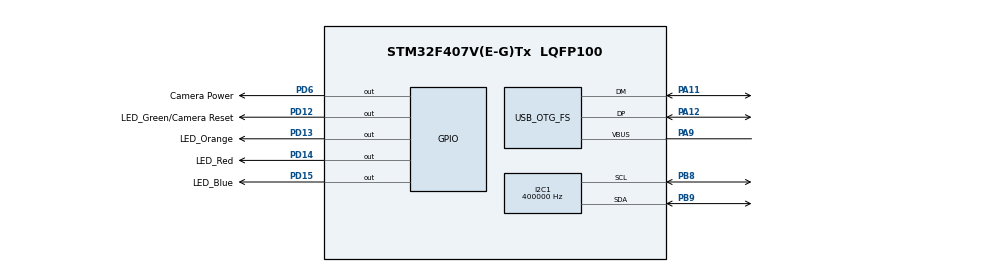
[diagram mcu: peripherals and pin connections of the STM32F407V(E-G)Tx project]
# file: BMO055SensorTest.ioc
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Dma.I2C1_RX.1.Channel=DMA_CHANNEL_1
Dma.I2C1_RX.1.Direction=DMA_PERIPH_TO_MEMORY
Dma.I2C1_RX.1.FIFOMode=DMA_FIFOMODE_DISABLE
Dma.I2C1_RX.1.Instance=DMA1_Stream0
Dma.I2C1_RX.1.MemDataAlignment=DMA_MDATAALIGN_BYTE
Dma.I2C1_RX.1.MemInc=DMA_MINC_ENABLE
Dma.I2C1_RX.1.Mode=DMA_NORMAL
Dma.I2C1_RX.1.PeriphDataAlignment=DMA_PDATAALIGN_BYTE
Dma.I2C1_RX.1.PeriphInc=DMA_PINC_DISABLE
Dma.I2C1_RX.1.Priority=DMA_PRIORITY_HIGH
Dma.I2C1_TX.0.Channel=DMA_CHANNEL_1
Dma.I2C1_TX.0.Direction=DMA_MEMORY_TO_PERIPH
Dma.I2C1_TX.0.FIFOMode=DMA_FIFOMODE_DISABLE
Dma.I2C1_TX.0.Instance=DMA1_Stream6
Dma.I2C1_TX.0.MemDataAlignment=DMA_MDATAALIGN_BYTE
Dma.I2C1_TX.0.MemInc=DMA_MINC_DISABLE
Dma.I2C1_TX.0.Mode=DMA_NORMAL
Dma.I2C1_TX.0.PeriphDataAlignment=DMA_PDATAALIGN_BYTE
Dma.I2C1_TX.0.PeriphInc=DMA_PINC_DISABLE
Dma.I2C1_TX.0.Priority=DMA_PRIORITY_HIGH
Dma.Request0=I2C1_TX
Dma.Request1=I2C1_RX
I2C1.ClockSpeed=400000
Mcu.Family=STM32F4
Mcu.Name=STM32F407V(E-G)Tx
Mcu.Package=LQFP100
NVIC.DMA1_Stream0_IRQn=true\:2\:0
NVIC.DMA1_Stream6_IRQn=true\:2\:0
NVIC.DMA2_Stream1_IRQn=true\:2\:0
NVIC.I2C1_ER_IRQn=true\:3\:0
NVIC.I2C1_EV_IRQn=true\:3\:0
NVIC.OTG_FS_IRQn=true\:0\:0
NVIC.PriorityGroup=NVIC_PRIORITYGROUP_2
NVIC.TIM7_IRQn=true\:0\:0
PA11.GPIO_Mode=GPIO_MODE_AF_PP
PA11.GPIO_PuPd=GPIO_NOPULL
PA11.GPIO_Speed=GPIO_SPEED_HIGH
PA11.Mode=Device_Only
PA11.Signal=USB_OTG_FS_DM
PA12.GPIO_Mode=GPIO_MODE_AF_PP
PA12.GPIO_PuPd=GPIO_NOPULL
PA12.GPIO_Speed=GPIO_SPEED_HIGH
PA12.Mode=Device_Only
PA12.Signal=USB_OTG_FS_DP
PA9.Mode=Activate_VBUS
PA9.Signal=USB_OTG_FS_VBUS
PB8.GPIO_Mode=GPIO_MODE_AF_OD
PB8.GPIO_PuPd=GPIO_PULLUP
PB8.GPIO_Speed=GPIO_SPEED_HIGH
PB8.Mode=I2C
PB8.Signal=I2C1_SCL
PB9.GPIO_Mode=GPIO_MODE_AF_OD
PB9.GPIO_PuPd=GPIO_PULLUP
PB9.GPIO_Speed=GPIO_SPEED_HIGH
PB9.Mode=I2C
PB9.Signal=I2C1_SDA
PD12.GPIO_Label=LED_Green/Camera Reset
PD12.GPIO_ModeDefaultOutputPP=GPIO_MODE_OUTPUT_PP
PD12.GPIO_PuPd=GPIO_PULLDOWN
PD12.GPIO_Speed=GPIO_SPEED_FAST
PD12.Signal=GPIO_Output
PD13.GPIO_Label=LED_Orange
PD13.GPIO_ModeDefaultOutputPP=GPIO_MODE_OUTPUT_PP
PD13.GPIO_PuPd=GPIO_PULLDOWN
PD13.GPIO_Speed=GPIO_SPEED_FAST
PD13.Signal=GPIO_Output
PD14.GPIO_Label=LED_Red
PD14.GPIO_ModeDefaultOutputPP=GPIO_MODE_OUTPUT_PP
PD14.GPIO_PuPd=GPIO_PULLDOWN
PD14.GPIO_Speed=GPIO_SPEED_FAST
PD14.Signal=GPIO_Output
PD15.GPIO_Label=LED_Blue
PD15.GPIO_ModeDefaultOutputPP=GPIO_MODE_OUTPUT_PP
PD15.GPIO_PuPd=GPIO_PULLDOWN
PD15.GPIO_Speed=GPIO_SPEED_FAST
PD15.Signal=GPIO_Output
PD6.GPIO_Label=Camera Power
PD6.GPIO_ModeDefaultOutputPP=GPIO_MODE_OUTPUT_PP
PD6.GPIO_PuPd=GPIO_PULLDOWN
PD6.GPIO_Speed=GPIO_SPEED_FAST
PD6.Signal=GPIO_Output
ProjectManager.TargetToolchain=MDK-ARM 4.73
RCC.APB1CLKDivider=RCC_HCLK_DIV4
RCC.APB2CLKDivider=RCC_HCLK_DIV2
RCC.HSE_VALUE=25000000
RCC.HSI_VALUE=16000000
RCC.LSE_VALUE=32768
RCC.PLLN=336
RCC.PLLQ=7
RCC.SYSCLKSource=RCC_SYSCLKSOURCE_PLLCLK
TIM7.Period=59999
TIM7.Prescaler=13
USB_DEVICE.USBD_HandleTypeDef=hUsbDeviceFS
USB_DEVICE.VirtualMode=Cdc
USB_DEVICE.VirtualModeFS=Cdc_FS
USB_OTG_FS.VirtualMode-Device_Only=Device_Only
VP_CRC_VS_CRC.Mode=CRC_Activate
VP_TIM7_VS_ClockSourceINT.Mode=Enable_Timer
VP_USB_DEVICE_VS_USB_DEVICE_CDC_FS.Mode=CDC_FS

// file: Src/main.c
/**
  ******************************************************************************
  * File Name          : main.c
  * Date               : 06/06/2015 19:36:42
  * Description        : Main program body
  ******************************************************************************
  *
  * COPYRIGHT(c) 2015 STMicroelectronics
  *
  * Redistribution and use in source and binary forms, with or without modification,
  * are permitted provided that the following conditions are met:
  *   1. Redistributions of source code must retain the above copyright notice,
  *      this list of conditions and the following disclaimer.
  *   2. Redistributions in binary form must reproduce the above copyright notice,
  *      this list of conditions and the following disclaimer in the documentation
  *      and/or other materials provided with the distribution.
  *   3. Neither the name of STMicroelectronics nor the names of its contributors
  *      may be used to endorse or promote products derived from this software
  *      without specific prior written permission.
  *
  * THIS SOFTWARE IS PROVIDED BY THE COPYRIGHT HOLDERS AND CONTRIBUTORS "AS IS"
  * AND ANY EXPRESS OR IMPLIED WARRANTIES, INCLUDING, BUT NOT LIMITED TO, THE
  * IMPLIED WARRANTIES OF MERCHANTABILITY AND FITNESS FOR A PARTICULAR PURPOSE ARE
  * DISCLAIMED. IN NO EVENT SHALL THE COPYRIGHT HOLDER OR CONTRIBUTORS BE LIABLE
  * FOR ANY DIRECT, INDIRECT, INCIDENTAL, SPECIAL, EXEMPLARY, OR CONSEQUENTIAL
  * DAMAGES (INCLUDING, BUT NOT LIMITED TO, PROCUREMENT OF SUBSTITUTE GOODS OR
  * SERVICES; LOSS OF USE, DATA, OR PROFITS; OR BUSINESS INTERRUPTION) HOWEVER
  * CAUSED AND ON ANY THEORY OF LIABILITY, WHETHER IN CONTRACT, STRICT LIABILITY,
  * OR TORT (INCLUDING NEGLIGENCE OR OTHERWISE) ARISING IN ANY WAY OUT OF THE USE
  * OF THIS SOFTWARE, EVEN IF ADVISED OF THE POSSIBILITY OF SUCH DAMAGE.
  *
  ******************************************************************************
  */

#include "stm32f4xx_hal.h"
#include "crc.h"
#include "dma.h"
#include "i2c.h"
#include "tim.h"
#include "usb_device.h"
#include "gpio.h"

/* USER CODE BEGIN 0 */
//------------------------------ Includes -------------------------------------
// Для работы с устройством USB
#include "usbd_cdc_if.h"
// Определены адреса регистров сенсора
// D:\MyPROG\LSD_SLAM\STM\BNO055_driver
#include "bno055.h"
// Определены адреса регистров видео камеры
// D:\MyPROG\STM32\STM32Cube_FW_F4_V1.6.0\Drivers\BSP\Components\ov2640
//#include "ov2640.h"

//------------------------------ Defines -------------------------------------
// Управление питанием видеокамеры
#define  CAMERA_PWR_EN_PIN		GPIO_PIN_6
#define  CAMERA_PWR_EN_PORT		GPIOD
// Зеленый светодиод и сброс камеры
#define  CAMERA_RST_PIN			  GPIO_PIN_12
#define  CAMERA_RST_PORT		  GPIOD
// Оранжевый сетодиод
#define  ORANG_LED_PIN				GPIO_PIN_13
#define  ORANG_LED_PORT				GPIOD
// Красный сетодиод
#define  RED_LED_PIN					GPIO_PIN_14
#define  RED_LED_PORT		  		GPIOD
// Синий сетодиод
#define  BLUE_LED_PIN					GPIO_PIN_14
#define  BLUE_LED_PORT				GPIOD

// Адресс датчика
#define BNO055_DEVICE_ADDRESS (0x28<<1)
// Адресс камеры
#define CAMERA_DEVICE_ADDRESS 0x21
//------------------------------ Globals Variables ----------------------------
// Статус перефирии
HAL_StatusTypeDef 		halStatus;
//------------------------------------ I2C ------------------------------------
// Состояние I2C
HAL_I2C_StateTypeDef 	i2cState;
// Код ошибки I2C
uint32_t 							i2cError;

//----------------------------------- BNO055 ----------------------------------
// Перечисление состояний модуля -----------------------
typedef enum BNO055_MODULE_STATE_ENUM
{
	Idl = 0,								// Свободен

	WaitID,									// Ожидание идентификаторов
	RecieveID,							// Идентификаторы получены

	WaitData,								// Ожидание данных
	RecieveData,						// Данные получены

	ChangeState,						// Запрос на смену состояния
	StateChanged						// Состояние мзменено
}bno055ModuleState;

bno055ModuleState moduleState;

// Структура идентификаторов датчика -------------------
struct
{
	uint8_t		chipID;				// Идентификатор устройства
	uint8_t		accID;				// Идентификатор акселерометра
	uint8_t		magID;				// Идентификатор датчика магнитного поля
	uint8_t		gyroID;				// Идентификатор гироскопа
	uint16_t	swRevID;			// Идентификатор версии ПО
	uint8_t		blRevID;			// Идентификатор загрузчика (BootLoader)
	uint8_t		pageID;				// Идентификатор текущей страници
}bno055IDStruct;

// Структура целочичисленного вектора ------------------
typedef struct VECTOR_3DI_Struct
{
	int16_t		x;
	int16_t		y;
	int16_t		z;
}iVector3D;

// Структура вектора с пдавающей запятой -----------------
typedef struct VECTOR_3DD_Struct
{
	double		x;
	double		y;
	double		z;
}dVector3D;

// Структура кватерниона  с пдавающей запятой  -----------
typedef struct QUATERNION_I_Struct
{
	int16_t		quaW;
	int16_t		quaX;
	int16_t		quaY;
	int16_t		quaZ;
}iQuternion;

// Структура целочичисленного кватерниона ----------------
typedef struct QUATERNION_D_Struct
{
	double		quaW;
	double		quaX;
	double		quaY;
	double		quaZ;
}dQuternion;

// Данные датчиков---------------------------------------
typedef struct bno055SensorsDataStruct
{
	iVector3D acc;				// Ускорение по осям
	iVector3D	mag;				// Днные магнитометра
	iVector3D	giro;				// Днные гироскопа
}bno055SensorsData;

// Обработанные данные ---------------------------------
typedef struct bno055FusionDataStruct
{
	// Днные абсолютной ориентации
	int16_t			head;
	int16_t			roll;
	int16_t			pitch;

	iQuternion 	qua;		// Кватернион
	iVector3D		lin;		// Линенйое ускорение
	iVector3D		grv;		// Чистая гавитация
}bno055FusionData;
// Экземпляр данных
bno055FusionData fusionData;

// Состояние модуля  ( не доделана ) -------------------
typedef struct BNO055_State_Struct
{
	int8_t	temp;				// Температура мрдуля

	// Доступ к этим регистрам в разных режимах ????
}bno055StateStruct;

// Структура данных датчиков ( не доделана ) -----------
struct BNO055_All_Data_Struct
{
	// Идентификатор текущей страници
	uint8_t		pageID;

}BNO055AllDataStruct;
// Экземпляр данных

// Структура данных для передачи на ПК -----------------
typedef struct Positon_Data_Struct
{
	uint16_t			code;		// Код струтуры

	iQuternion 	qua;		// Ориентация

	dVector3D		acc;		// Текущее ускорение
	dVector3D		vel;		// Оценка текущей скорости
	dVector3D		pos;		// Оценка тукцщкго положения
}PositionDataStruct;
// Экземпляр данных
PositionDataStruct globalPostionData;
// Размер структуры данных
uint16_t globalPostionDataSize = sizeof( PositionDataStruct );

// Количество циклов между отправкой
#define USB_DATA_TRANSMIT_CICLE_NUMBER 500
// Счетчик циклов
uint16_t	usbDataTransmitCounter = 0;

// Инициализацтя модуля
void initBNO055( void );
// Функция запроса ID
void recieveID( void );
// Функция переключения состояния
void changeState( void );

// Функция обработки полученных данных
void processData( void );
// Рачсчет значений
void calculatePosition( void );

// Функция запроса данных
void recieveData( void );

// Обработка ошибок датчика
void BNO055_Error( void );
//------------------------- Private function prototypes -----------------------

/* USER CODE END 0 */

void SystemClock_Config(void);

int main(void)
{

  /* MCU Configuration----------------------------------------------------------*/

  /* Reset of all peripherals, Initializes the Flash interface and the Systick. */
  HAL_Init();

  /* Configure the system clock */
  SystemClock_Config();

  /* System interrupt init*/
  /* Sets the priority grouping field */
  HAL_NVIC_SetPriorityGrouping(NVIC_PRIORITYGROUP_2);
  HAL_NVIC_SetPriority(SysTick_IRQn, 0, 0);

  /* Initialize all configured peripherals */
  MX_GPIO_Init();
  MX_DMA_Init();
  MX_CRC_Init();
  MX_I2C1_Init();
  MX_TIM7_Init();
  MX_USB_DEVICE_Init();

  /* USER CODE BEGIN 2 */

	/*Reset camera*/
  HAL_GPIO_WritePin(CAMERA_RST_PORT, CAMERA_RST_PIN, GPIO_PIN_RESET);
  HAL_Delay(100);
  HAL_GPIO_WritePin(CAMERA_RST_PORT, CAMERA_RST_PIN, GPIO_PIN_SET);

	/* camera PWR EN pin configuration */
  HAL_GPIO_WritePin(CAMERA_PWR_EN_PORT, CAMERA_PWR_EN_PIN, GPIO_PIN_RESET);

	// Инициализацтя модуля
	initBNO055();

	// Если инициализация прошла успешно
		// Запустить таймер
		HAL_TIM_Base_Start_IT( &htim7 );

  /* USER CODE END 2 */

  /* USER CODE BEGIN 3 */
  /* Infinite loop */
  while (1)
  {
		// Фоновая обработка данных
		processData();
  }
  /* USER CODE END 3 */

}

/** System Clock Configuration
*/
void SystemClock_Config(void)
{

  RCC_ClkInitTypeDef RCC_ClkInitStruct;
  RCC_OscInitTypeDef RCC_OscInitStruct;

  __PWR_CLK_ENABLE();

  __HAL_PWR_VOLTAGESCALING_CONFIG(PWR_REGULATOR_VOLTAGE_SCALE1);

  RCC_OscInitStruct.OscillatorType = RCC_OSCILLATORTYPE_HSI;
  RCC_OscInitStruct.HSIState = RCC_HSI_ON;
  RCC_OscInitStruct.HSICalibrationValue = 6;
  RCC_OscInitStruct.PLL.PLLState = RCC_PLL_ON;
  RCC_OscInitStruct.PLL.PLLSource = RCC_PLLSOURCE_HSI;
  RCC_OscInitStruct.PLL.PLLM = 16;
  RCC_OscInitStruct.PLL.PLLN = 336;
  RCC_OscInitStruct.PLL.PLLP = RCC_PLLP_DIV2;
  RCC_OscInitStruct.PLL.PLLQ = 7;
  HAL_RCC_OscConfig(&RCC_OscInitStruct);

  RCC_ClkInitStruct.ClockType = RCC_CLOCKTYPE_SYSCLK|RCC_CLOCKTYPE_PCLK1
                              |RCC_CLOCKTYPE_PCLK2;
  RCC_ClkInitStruct.SYSCLKSource = RCC_SYSCLKSOURCE_PLLCLK;
  RCC_ClkInitStruct.AHBCLKDivider = RCC_SYSCLK_DIV1;
  RCC_ClkInitStruct.APB1CLKDivider = RCC_HCLK_DIV4;
  RCC_ClkInitStruct.APB2CLKDivider = RCC_HCLK_DIV2;
  HAL_RCC_ClockConfig(&RCC_ClkInitStruct, FLASH_LATENCY_5);

}

/* USER CODE BEGIN 4 */
// Инициализацтя модуля
void initBNO055()
{
	// Установить начальное состояние
	moduleState = Idl;

	// Проверить настройку перефирии
	i2cState = HAL_I2C_GetState(&hi2c1);
	// Если не получилсь
	if( HAL_I2C_STATE_READY != i2cState )
	{
		while (1){}
		// Поменять состояние
		// bno055State = Error;
		// Обработать ошибку
		BNO055_Error();
	}

	// Проверить готовность устройства
	halStatus = HAL_I2C_IsDeviceReady( &hi2c1, (uint16_t)BNO055_DEVICE_ADDRESS, 5, 1000 );
	// Если не получилсь
	if( HAL_OK != halStatus )
	{
		while (1){}
		// Поменять состояние
		// bno055State = Error;
		// Обработать ошибку
		BNO055_Error();
	}

	// Запрость идентификаторы устройства
	recieveID();
	// Функция переключения состояния
	changeState();

	// Подвердить окончание инициализвции
}

// Функция запроса ID
void recieveID()
{
	// Поменять состояние
	moduleState = WaitID;
	// Попробовать отправить данные
	halStatus = HAL_I2C_Mem_Read ( 				&hi2c1,
															(uint16_t)BNO055_DEVICE_ADDRESS,				// Адрес устройства
																				0x0, 													// Адрес регистра
																				I2C_MEMADD_SIZE_8BIT,					// Размерность данных
																				(uint8_t*)&bno055IDStruct, 		// Буфер для получения данных
																				sizeof(bno055IDStruct), 			// Сколько данных нужно получить
																				100);

	// Если не получилсь
	if( HAL_OK != halStatus )
	{
		while (1){}
		// Поменять состояние
		// moduleState = Error;
		// Обработать ошибку
		BNO055_Error();
	}

	// Поменять состояние
	moduleState = RecieveID;
	// Функция обработки полученных данных
	processData();
}

// Функция переключения состояния
void changeState()
{
	// Поменять состояние
	moduleState = ChangeState;

	uint8_t data = OPERATION_MODE_NDOF;
	// Пробуем поменять режим устройства
	halStatus = HAL_I2C_Mem_Write( 				&hi2c1,
															(uint16_t)BNO055_DEVICE_ADDRESS,			// Адрес устройства
																				0x3D, 											// Адрес регистра
																				I2C_MEMADD_SIZE_8BIT, 			// Размерность данных
																				&data, 											// Буфер отправляемых данных
																				sizeof(data),								// Сколько данных отправить
																				100	);

	if( HAL_OK != halStatus )
	{
		while (1){}
		BNO055_Error();
	}
	// Поменять состояние
	moduleState = StateChanged;
	// Функция обработки полученных данных
	processData();
}

// Функция запроса данных
void recieveData(  )
{
	if( moduleState != Idl )
	{
		// while(1){}
		// Тут можно поставить счетчик пропущенных циклов
		return;
	}

	// Поменять состояние
	moduleState = WaitData;

	// Зпрашиваем новые данные
	halStatus = HAL_I2C_Mem_Read_DMA( 		&hi2c1,
															(uint16_t)BNO055_DEVICE_ADDRESS,			// Адрес устройства
																				0x1A, 											// Адрес регистра
																				I2C_MEMADD_SIZE_8BIT, 			// Размерность данных
																				(uint8_t*)&fusionData,			// Буфер для получения данных
																				sizeof(fusionData) 					// Сколько данных нужно отправить
																				);
	// Обработать ошибки
	if( HAL_OK != halStatus )
	{
		while (1){}
		BNO055_Error();
	}
}

// Рачсчет значений
void calculatePosition()
{
	// Полная инициализация
	globalPostionData.code  = 	0xAA;

	globalPostionData.qua   = 	fusionData.qua;

//	globalPostionData.acc.x =  fusionData.lin.x / 100.0;
//	globalPostionData.acc.y =  fusionData.lin.y / 100.0;
//	globalPostionData.acc.z =  fusionData.lin.z / 100.0;
//
//	globalPostionData.vel.x =  globalPostionData.acc.x / 100.0;
//	globalPostionData.vel.y =  globalPostionData.acc.y / 100.0;
//	globalPostionData.vel.z =  globalPostionData.acc.z / 100.0;
//
//	globalPostionData.pos.x =  globalPostionData.vel.x / 100.0;
//	globalPostionData.pos.y =  globalPostionData.vel.y / 100.0;
//	globalPostionData.pos.z =  globalPostionData.vel.z / 100.0;

	globalPostionData.acc.x =	1.0;
	globalPostionData.acc.y =	2.0;
	globalPostionData.acc.z =	3.0;

	globalPostionData.vel.x =  4.0;
	globalPostionData.vel.y =  5.0;
	globalPostionData.vel.z =  6.0;

	globalPostionData.pos.x =  7.0;
	globalPostionData.pos.y =  8.0;
	globalPostionData.pos.z =  9.0;

	if( usbDataTransmitCounter++ >= USB_DATA_TRANSMIT_CICLE_NUMBER )
	{
		HAL_GPIO_TogglePin ( GPIOD, GPIO_PIN_13 );

		// Отправить пакет по USB
		uint8_t res = CDC_Transmit_FS( (uint8_t*)&globalPostionData, sizeof(PositionDataStruct) );
		// Сбросить счетчик
		usbDataTransmitCounter = 0;
	}
}

// Функция обработки полученных данных
void processData( void )
{
	int8_t res;
	// В зависимости от текущего состояния
	switch ( moduleState )
	{
		// Получить ID устройства
		case RecieveID:
			///printf("case RecieveID");
			// Проверить правильность страници
			// Cравнить ID устройств
				// Сообщить об ошбках
			// Поменять сосояние
			moduleState = Idl;
			break;

		// Получить ID устройства
		case RecieveData:
			// Рачсчет новых значений
			calculatePosition();
			// Отправить пакет по USB
			// res = CDC_Transmit_FS( (uint8_t*)testDataToSend, 2*8 );
			// Поменять сосояние
			moduleState = Idl;
			break;

		// Поменяли состояние
		case StateChanged:
			///printf("case StateChanged");
			// Поменять сосояние
			moduleState = Idl;
			break;

		default:
			/// printf("default");
			break;
	}
}

void HAL_TIM_PeriodElapsedCallback(TIM_HandleTypeDef *htim)
{
	// Меняем состояние на противоположное
	//HAL_GPIO_TogglePin ( GPIOD, GPIO_PIN_13 );
	//HAL_GPIO_WritePin(GPIOD, GPIO_PIN_13, GPIO_PIN_SET);

	// Запросить данные
	recieveData();

	// Меняем состояние на противоположное
	//HAL_GPIO_TogglePin ( GPIOD, GPIO_PIN_13 );
	// HAL_GPIO_WritePin(GPIOD, GPIO_PIN_13, GPIO_PIN_RESET);
}

void BNO055_Error()
{
	// Уходим в бесконечный цикл
	i2cError = HAL_I2C_GetError ( &hi2c1 );
	while(1){}
}

// Прерывание по окончанию передачи
void HAL_I2C_MemTxCpltCallback ( I2C_HandleTypeDef *hi2c )
{

}

// Прерывание по окончантю приема
void HAL_I2C_MemRxCpltCallback ( I2C_HandleTypeDef *hi2c )
{
	// Если ждем данные
	if( moduleState == WaitData )
	{
		// Указать состоянее данные получены
		 moduleState = RecieveData;
	}
	else
	{
		while(1){}
	}
}

/* USER CODE END 4 */

/************************ (C) COPYRIGHT STMicroelectronics *****END OF FILE****/
